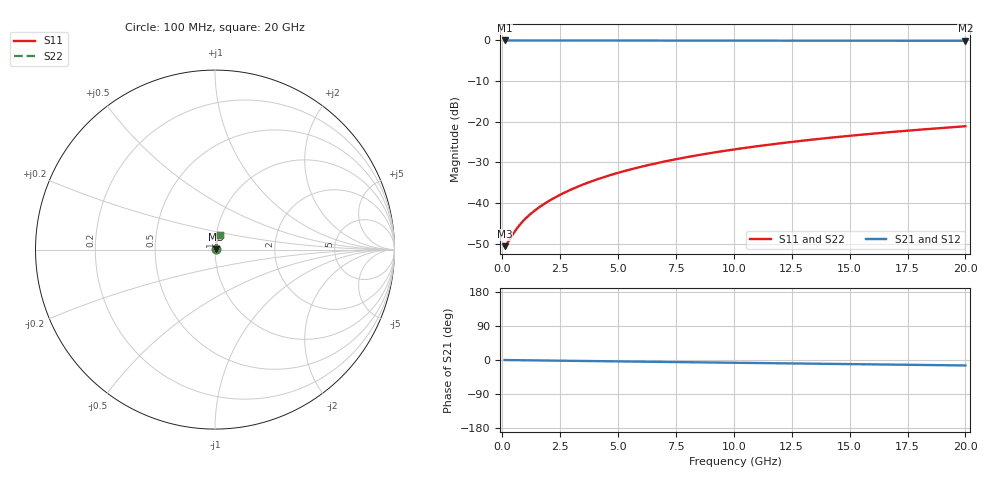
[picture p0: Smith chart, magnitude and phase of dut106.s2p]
! Touchstone file exported from HFSS 2026.1.0
!  File:  C:/ffzhzh/LocalFiles/Ansys_Project_Files/temp_train_TMRDL_106_1782982371_41620.aedt
!  Generated:  04:53:59 PM Jul  2, 2026
!  Design:  TMRDL
!  Project:  temp_train_TMRDL_106_1782982371_41620
! Variables:
!  h_bsmrdl = 2um
!  h_ox = 20um
!  h_rdl = 5um
!  h_sub = 80um
!  h_tmrdl = 2.01um
!  h_tsv = 80um
!  h_via = 3um
!  l_bsmrdl = 300um
!  l_sub = 628.7um
!  l_tmrdl = 228.7um
!  m_sub = 200um
!  pitch = 22.67um
!  r_tsv = 6um
!  s_tmrdl = 10um
!  w_bsmrdl = 18um
!  w_sub = 500um
!  w_tmrdl = 15.88um
!  x_tsv_center1 = 236.64um
!  x_tsv_center2 = 554.64um
!  x_tsv_center3 = 799.22um
!  x_tsv_center4 = 1117.22um
!  x_tsv_center5 = 1361.8um
!  x_tsv_center6 = 1679.8um
# GHz S MA R 50.000000
! Terminal data exported
! Port[1] = TM_RDL1_1_T1
! Port[2] = TM_RDL1_1_T2
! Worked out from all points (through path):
!   200 points, 100 MHz to 20 GHz, reference 50 ohm
!   highest |S21| = -0.03 dB at 100 MHz (marker M1); lowest = -0.1 dB at 20 GHz (marker M2)
!   group delay of S21, straight-line fit = 2 ps
!   lowest |S11| = -50.6 dB at 100 MHz (marker M3), VSWR 1.01, Z = 50.3 + j0.061 ohm
!   |S11| at or under -10 dB: start of sweep to end of sweep
!   |S22| runs from -50.6 to -21.1 dB; largest |S21 - S12| = 2.7e-15
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0.1  0.002956 11.8  0.9971 -0.1  0.9971 -0.1  0.002956 11.8
! Gamma 0 0 0 0
! Port Impedance 50 0 50 0
0.2  0.003179 22.2  0.9971 -0.2  0.9971 -0.2  0.003179 22.2
0.6  0.004741 45.5  0.9967 -0.5  0.9967 -0.5  0.004741 45.5
0.8  0.005602 50.9  0.9965 -0.6  0.9965 -0.6  0.005602 50.9
0.9  0.006025 52.9  0.9964 -0.7  0.9964 -0.7  0.006025 52.9
1.1  0.006858 56.3  0.9963 -0.8  0.9963 -0.8  0.006858 56.3
1.4  0.00809 60.2  0.9961 -1.1  0.9961 -1.1  0.00809 60.2
1.8  0.009733 64.1  0.9959 -1.3  0.9959 -1.3  0.009733 64.1
2.3  0.01182 67.6  0.9958 -1.7  0.9958 -1.7  0.01182 67.6
2.9  0.01437 70.5  0.9956 -2.1  0.9956 -2.1  0.01437 70.5
3.5  0.01697 72.4  0.9955 -2.6  0.9955 -2.6  0.01697 72.4
4.2  0.02003 73.9  0.9953 -3.1  0.9953 -3.1  0.02003 73.9
5  0.02356 75.0  0.9951 -3.7  0.9951 -3.7  0.02356 75.0
5.9  0.02754 75.7  0.9949 -4.3  0.9949 -4.3  0.02754 75.7
6.8  0.03153 76.1  0.9946 -5.0  0.9946 -5.0  0.03153 76.1
8.3  0.03815 76.1  0.9941 -6.0  0.9941 -6.0  0.03815 76.1
10.1  0.04605 75.7  0.9934 -7.3  0.9934 -7.3  0.04605 75.7
11.7  0.053 75.1  0.9927 -8.5  0.9927 -8.5  0.053 75.1
13.4  0.06032 74.3  0.9919 -9.7  0.9919 -9.7  0.06032 74.3
15  0.06714 73.5  0.9911 -10.9  0.9911 -10.9  0.06714 73.5
16.7  0.07431 72.5  0.9902 -12.1  0.9902 -12.1  0.07431 72.5
20  0.08795 70.5  0.9882 -14.4  0.9882 -14.4  0.08795 70.5
